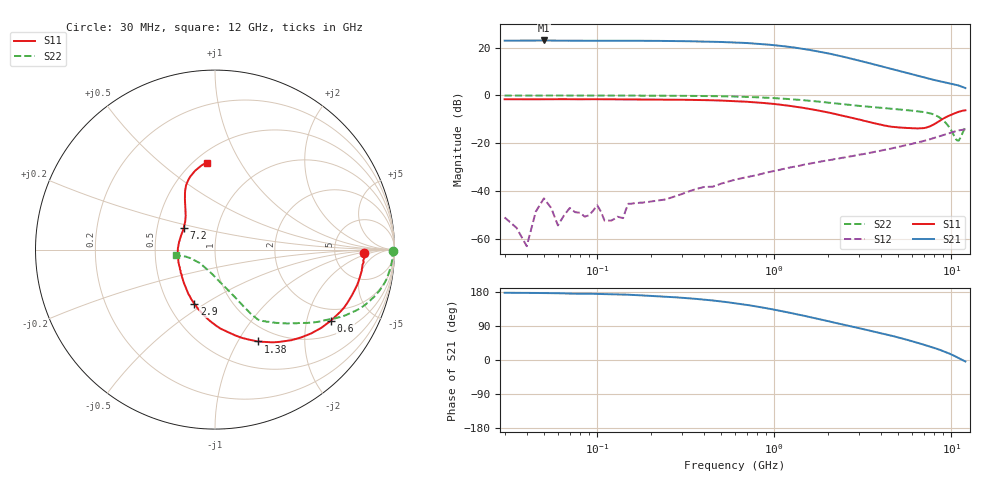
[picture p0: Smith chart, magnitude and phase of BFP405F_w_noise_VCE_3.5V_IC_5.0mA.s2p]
! Infineon Technologies  Discrete & RF Semiconductors
! BFP405F
! VCE =  3.5 V,  IC =  5.0 mA
! Common Emitter S-Parameters:  Nov 2015
# GHz  S  MA  R  50
!  f  S11  S21  S12  S22
! GHz  MAG  ANG  MAG  ANG  MAG  ANG  MAG  ANG
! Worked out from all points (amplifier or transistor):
!   239 points, 30 MHz to 12 GHz, reference 50 ohm
!   highest |S21| = 23.0 dB at 50 MHz (marker M1)
!   |S21| within 3 dB of that: start of sweep to 1.306 GHz
!   unconditionally stable (mu >= 1): 3.015 GHz to end of sweep
!   at 300 MHz: K = 0.15, MSG = 32.0 dB, |S12| = -41.3 dB
!   at 1.88 GHz: K = 0.66, MSG = 22.8 dB, |S12| = -27.5 dB
!   at 12 GHz: K = 1.46, MAG = 4.6 dB, |S12| = -14.2 dB
!   lowest NFmin = 1.29 dB at 450 MHz
!   S11 on the Smith chart (normalised r, x): 30 MHz: 11, -1; 600 MHz: 1.50, -2.80; 1.38 GHz: 0.81, -1.22; 2.9 GHz: 0.67, -0.45; 7.2 GHz: 0.69, +0.17; 12 GHz: 0.57, +0.73
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0.03  0.8292 -1.4  13.96 177.4  0.0028 49.3  0.9892 -0.5
0.04  0.8261 -1.9  13.96 177.3  0.0007 52.6  0.9872 -0.9
0.045  0.8277 -2.4  14.02 176.9  0.0037 113.7  0.9903 -1.0
0.05  0.8294 -2.8  14.07 176.5  0.007 118.7  0.9934 -1.1
0.06  0.8335 -3.1  13.92 176.2  0.0019 114.9  0.9914 -1.1
0.07  0.8298 -3.8  13.94 175.2  0.0044 106.0  0.9936 -1.4
0.085  0.8298 -4.6  13.89 174.9  0.0029 86.8  0.9894 -2.1
0.1  0.83 -5.2  13.85 174.4  0.005 90.2  0.9868 -2.5
0.145  0.826 -7.9  13.88 172.6  0.004 85.0  0.9889 -3.5
0.24  0.8181 -13.0  13.72 167.4  0.0066 83.3  0.9833 -5.8
0.4  0.7957 -21.6  13.39 159.4  0.0121 78.8  0.971 -9.6
0.6  0.7572 -31.6  12.76 149.8  0.0172 78.8  0.9435 -14.1
0.7  0.7352 -36.4  12.44 145.4  0.0195 74.9  0.9287 -16.1
0.92  0.6798 -46.4  11.55 135.9  0.0246 70.6  0.8905 -20.3
1.38  0.5655 -64.8  9.663 119.5  0.0336 65.3  0.8064 -27.3
1.64  0.5077 -74.0  8.714 111.9  0.038 63.4  0.7624 -30.3
2.2  0.4082 -92.2  7.042 98.3  0.0466 59.9  0.6814 -36.5
2.9  0.3231 -111.0  5.532 85.7  0.0556 57.2  0.613 -42.0
4.5  0.2241 -150.6  3.641 65.2  0.0762 53.7  0.5299 -50.3
7.2  0.211 145.7  2.312 38.5  0.1146 46.9  0.4377 -59.4
10.8  0.4409 106.4  1.634 6.8  0.1814 30.0  0.1134 -122.3
12  0.4862 95.5  1.421 -3.8  0.1954 23.4  0.2197 -172.0
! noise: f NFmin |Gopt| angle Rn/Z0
0.45  1.29  0.38  5  0.34
0.9  1.3  0.35  13  0.36
1.5  1.37  0.33  18  0.31
1.9  1.4  0.31  25  0.32
2.4  1.56  0.29  33  0.34
3  1.63  0.27  45  0.32
3.5  1.68  0.25  54  0.31
4.5  1.84  0.2  66  0.28
5.5  2.06  0.12  78  0.11
